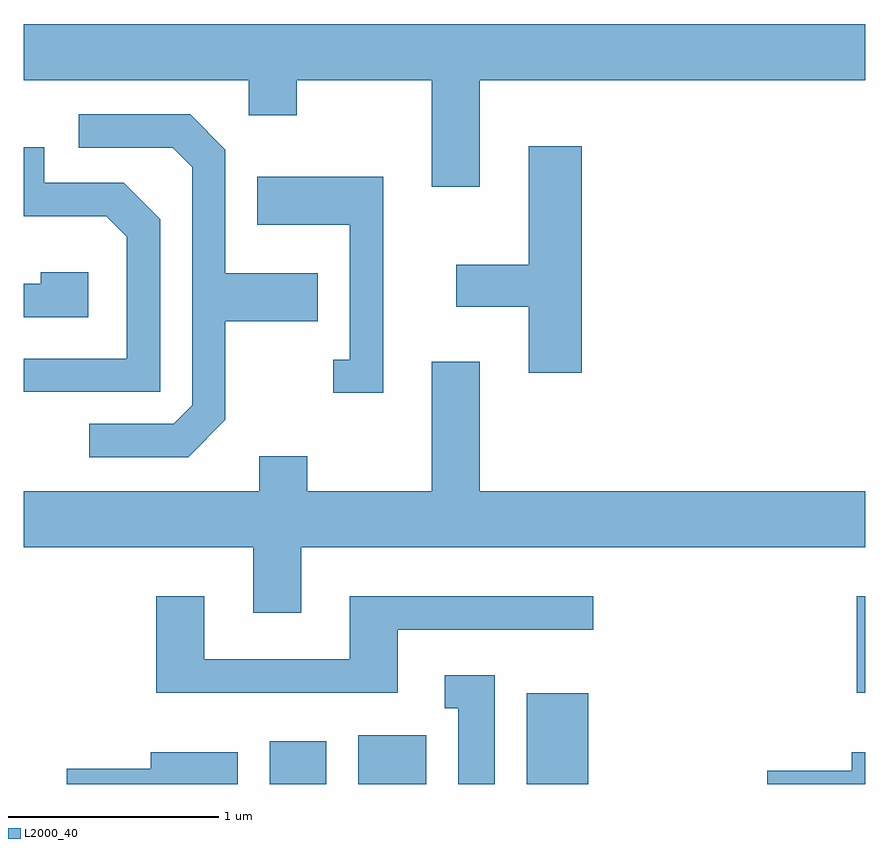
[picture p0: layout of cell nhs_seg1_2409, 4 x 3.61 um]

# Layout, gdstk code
import gdstk
lib = gdstk.Library(unit=1e-6, precision=1e-09)
def R(c, l, rs):  # rectangles x0, y0, x1, y1
    for r in rs: c.add(gdstk.rectangle(r[:2], r[2:], *l))
def P(c, l, *ps):  # polygons
    for p in ps: c.add(gdstk.Polygon(p, *l))
L2000_40 = (2000, 40)

nhs_seg1_2409 = lib.new_cell('nhs_seg1_2409')
R(nhs_seg1_2409, L2000_40, [(258.781,971.712,259.049,971.914), (259.201,971.712,259.524,971.944), (260.001,971.712,260.294,972.144), (261.571,972.146,261.611,972.604)])
P(nhs_seg1_2409, L2000_40, [(259.779,975.056),(261.611,975.056),(261.611,975.324),(257.611,975.324),(257.611,975.056),(258.681,975.056),(258.681,974.891),(258.909,974.891),(258.909,975.056),(259.551,975.056),(259.551,974.551),(259.779,974.551)],
  [(258.569,973.444),(258.569,973.911),(259.009,973.911),(259.009,974.139),(258.569,974.139),(258.569,974.727),(258.402,974.894),(257.873,974.894),(257.873,974.736),(258.319,974.736),(258.411,974.644),(258.411,973.512),(258.324,973.424),(257.923,973.424),(257.923,973.266),(258.392,973.266)],
  [(260.264,974.744),(260.011,974.744),(260.011,974.179),(259.666,974.179),(259.666,973.981),(260.011,973.981),(260.011,973.666),(260.264,973.666)],
  [(258.259,974.397),(258.087,974.569),(257.709,974.569),(257.709,974.739),(257.611,974.739),(257.611,974.411),(258.004,974.411),(258.101,974.314),(258.101,973.734),(257.611,973.734),(257.611,973.576),(258.259,973.576)],
  [(259.319,974.599),(258.721,974.599),(258.721,974.371),(259.161,974.371),(259.161,973.729),(259.082,973.729),(259.082,973.571),(259.319,973.571)],
  [(257.919,974.144),(257.691,974.144),(257.691,974.089),(257.611,974.089),(257.611,973.931),(257.919,973.931)],
  [(258.929,972.836),(261.611,972.836),(261.611,973.104),(259.779,973.104),(259.779,973.719),(259.551,973.719),(259.551,973.104),(258.959,973.104),(258.959,973.269),(258.731,973.269),(258.731,973.104),(257.611,973.104),(257.611,972.836),(258.701,972.836),(258.701,972.526),(258.929,972.526)],
  [(259.389,972.446),(260.318,972.446),(260.318,972.604),(259.161,972.604),(259.161,972.304),(258.469,972.304),(258.469,972.604),(258.241,972.604),(258.241,972.146),(259.389,972.146)],
  [(259.849,972.229),(259.613,972.229),(259.613,972.071),(259.676,972.071),(259.676,971.712),(259.849,971.712)],
  [(261.611,971.864),(261.546,971.864),(261.546,971.774),(261.146,971.774),(261.146,971.712),(261.611,971.712)],
  [(258.629,971.864),(258.216,971.864),(258.216,971.784),(257.816,971.784),(257.816,971.712),(258.629,971.712)])

lib.write_gds('nhs_seg1_2409.gds')
